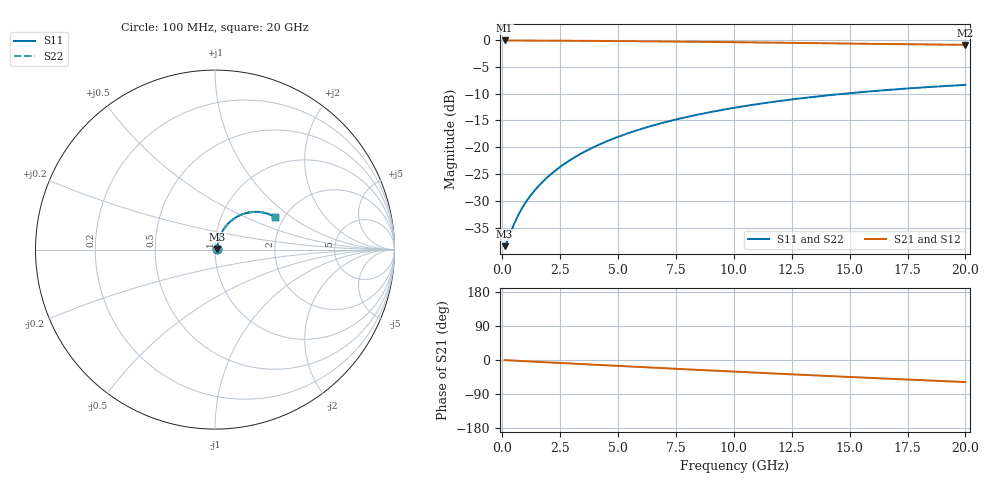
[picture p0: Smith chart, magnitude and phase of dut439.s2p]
! Touchstone file exported from HFSS 2026.1.0
!  File:  C:/ffzhzh/LocalFiles/Ansys_Project_Files/temp_train_TMRDL_439_1783005597_51716.aedt
!  Generated:  11:21:28 PM Jul  2, 2026
!  Design:  TMRDL
!  Project:  temp_train_TMRDL_439_1783005597_51716
! Variables:
!  h_bsmrdl = 2um
!  h_ox = 20um
!  h_rdl = 5um
!  h_sub = 80um
!  h_tmrdl = 2.41um
!  h_tsv = 80um
!  h_via = 3um
!  l_bsmrdl = 300um
!  l_sub = 1391.48um
!  l_tmrdl = 991.48um
!  m_sub = 200um
!  pitch = 22.04um
!  r_tsv = 6um
!  s_tmrdl = 10um
!  w_bsmrdl = 18um
!  w_sub = 500um
!  w_tmrdl = 12.38um
!  x_tsv_center1 = 997.67um
!  x_tsv_center2 = 1315.67um
!  x_tsv_center3 = 2319.53um
!  x_tsv_center4 = 2637.53um
!  x_tsv_center5 = 3641.39um
!  x_tsv_center6 = 3959.39um
# GHz S MA R 50.000000
! Terminal data exported
! Port[1] = TM_RDL1_1_T1
! Port[2] = TM_RDL1_1_T2
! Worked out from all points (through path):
!   200 points, 100 MHz to 20 GHz, reference 50 ohm
!   highest |S21| = -0.10 dB at 100 MHz (marker M1); lowest = -0.9 dB at 20 GHz (marker M2)
!   group delay of S21, straight-line fit = 8.08 ps
!   lowest |S11| = -38.4 dB at 100 MHz (marker M3), VSWR 1.02, Z = 51.2 + j0.299 ohm
!   |S11| at or under -10 dB: start of sweep to 14.82 GHz
!   |S22| runs from -38.4 to -8.4 dB; largest |S21 - S12| = 8.9e-15
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0.1  0.012 14.1  0.9884 -0.3  0.9884 -0.3  0.012 14.1
! Gamma 0 0 0 0
! Port Impedance 50 0 50 0
0.2  0.01319 26.1  0.9882 -0.7  0.9882 -0.7  0.01319 26.1
0.5  0.01909 47.1  0.9873 -1.7  0.9873 -1.7  0.01909 47.1
0.6  0.02133 50.8  0.987 -2.0  0.987 -2.0  0.02133 50.8
0.8  0.02589 56.1  0.9863 -2.6  0.9863 -2.6  0.02589 56.1
1.1  0.03278 61.1  0.9855 -3.6  0.9855 -3.6  0.03278 61.1
1.4  0.03973 64.1  0.9849 -4.5  0.9849 -4.5  0.03973 64.1
1.8  0.04911 66.6  0.984 -5.7  0.984 -5.7  0.04911 66.6
2.3  0.06097 68.2  0.983 -7.3  0.983 -7.3  0.06097 68.2
2.9  0.07531 68.9  0.9817 -9.2  0.9817 -9.2  0.07531 68.9
3.5  0.08966 68.8  0.9802 -11.0  0.9802 -11.0  0.08966 68.8
4.2  0.1063 68.0  0.9781 -13.2  0.9781 -13.2  0.1063 68.0
5  0.1251 66.7  0.9755 -15.7  0.9755 -15.7  0.1251 66.7
5.9  0.1459 64.8  0.9721 -18.4  0.9721 -18.4  0.1459 64.8
6.8  0.1661 62.7  0.9683 -21.1  0.9683 -21.1  0.1661 62.7
8.4  0.2006 58.7  0.9608 -25.9  0.9608 -25.9  0.2006 58.7
10.1  0.235 54.2  0.952 -31.0  0.952 -31.0  0.235 54.2
11.7  0.2649 49.9  0.9432 -35.6  0.9432 -35.6  0.2649 49.9
13.4  0.294 45.4  0.9337 -40.4  0.9337 -40.4  0.294 45.4
15  0.319 41.2  0.9247 -44.8  0.9247 -44.8  0.319 41.2
16.7  0.3427 36.8  0.9156 -49.5  0.9156 -49.5  0.3427 36.7
20  0.3812 28.4  0.8994 -58.2  0.8994 -58.2  0.3812 28.3
